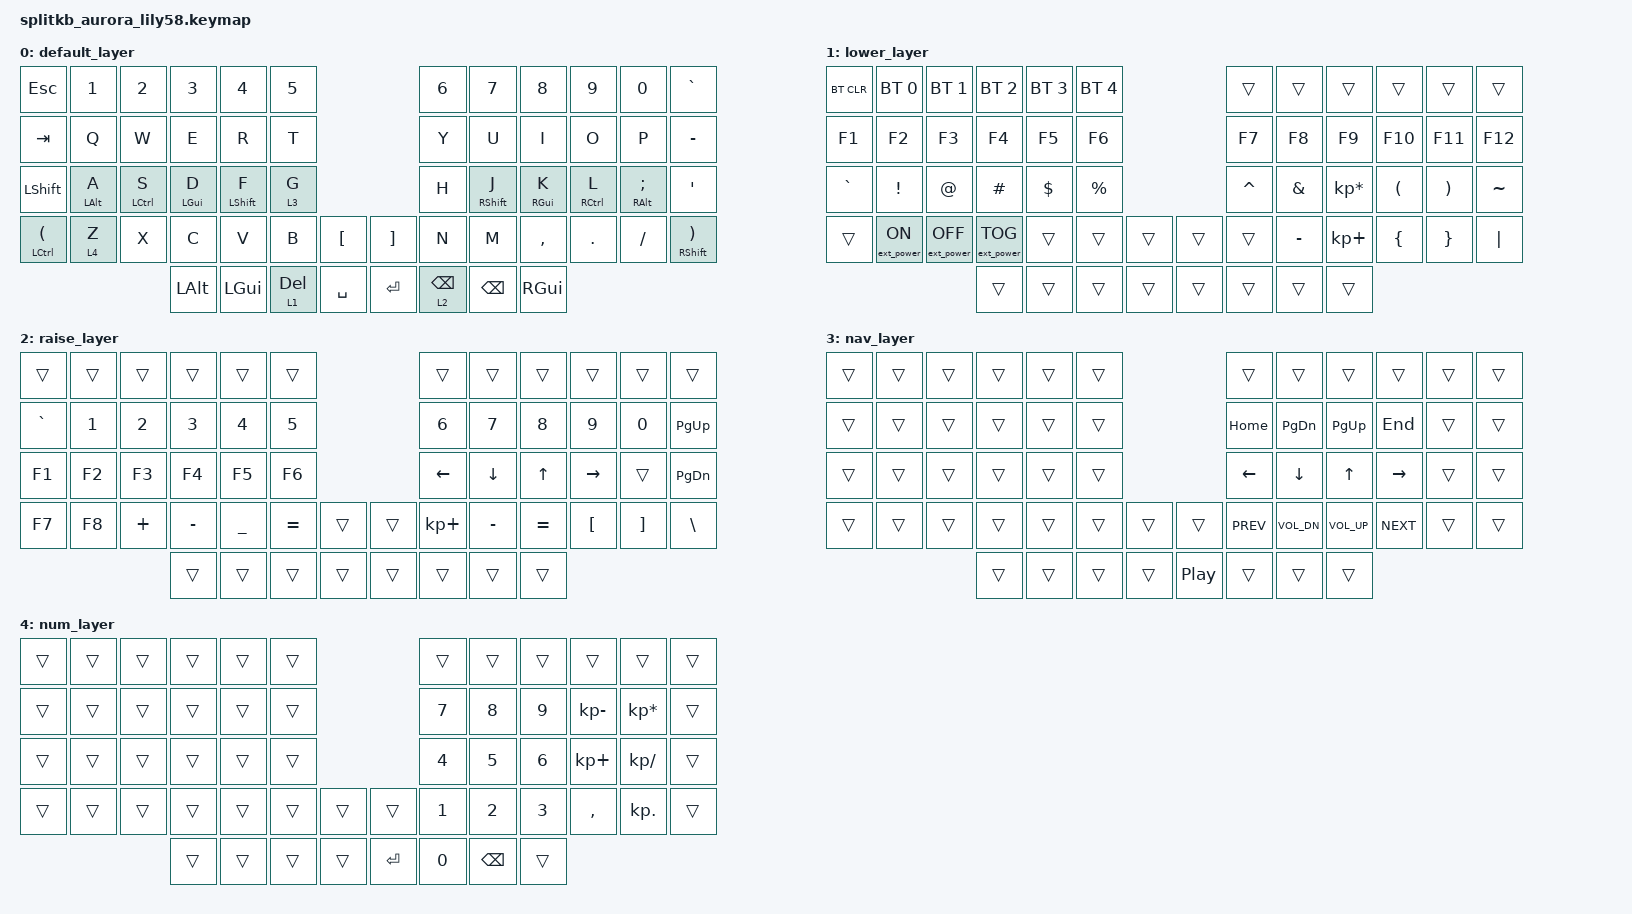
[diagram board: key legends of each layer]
/*
 * Copyright (c) 2020 The ZMK Contributors
 *
 * SPDX-License-Identifier: MIT
 */

#include <behaviors.dtsi>
#include <dt-bindings/zmk/keys.h>
#include <dt-bindings/zmk/bt.h>
#include <dt-bindings/zmk/ext_power.h>
        
#include "../zmk-nodefree-config/helper.h"
#include "../zmk-nodefree-config/keypos_def/keypos_58keys.h"


#define L_DEF 0
#define L_LOW 1
#define L_UP 2
#define L_NAV 3
#define L_NUM 4

&mt {
    tapping-term-ms = <200>;
};

/ {

    #include "combos.dti"
    #include "macros.dti"

    behaviors {
        // umlaut tab dance case
        // 1 tab = regular aeo key,
        // 2x tab = lower case aeo umlaut
        // 3x tab = UPPER case aeo umlaut
        td_ae: td_ae {
            compatible = "zmk,behavior-tap-dance";
            label = "AE";
            #binding-cells = <0>;
            tapping-term-ms = <180>;
            bindings = <&kp A>, <&m_ae>, <&m_uae>;
        };
        td_oe: td_oe {
            compatible = "zmk,behavior-tap-dance";
            label = "OE";
            #binding-cells = <0>;
            tapping-term-ms = <180>;
            bindings = <&kp O>, <&m_oe>, <&m_uoe>;
        };
        td_ue: td_ue {
            compatible = "zmk,behavior-tap-dance";
            label = "UE";
            #binding-cells = <0>;
            tapping-term-ms = <180>;
            bindings = <&kp U>, <&m_ue>, <&m_uue>;
        };
        ht: hold_tap {
            compatible = "zmk,behavior-hold-tap";
            label = "HOMEROW_MODS";
            #binding-cells = <2>;
            tapping-term-ms = <250>;
            quick-tap-ms = <0>;
            flavor = "balanced";
            bindings = <&kp>, <&kp>;
        };
        b_lt: layer_tap {
            compatible = "zmk,behavior-hold-tap";
            label = "LAYER_TAP";
            #binding-cells = <2>;
            tapping-term-ms = <250>;
            quick-tap-ms = <0>;
            flavor = "balanced";
            bindings = <&mo>, <&kp>;
         };
    };



    keymap {
        compatible = "zmk,keymap";

        default_layer {
// ------------------------------------------------------------------------------------------------------------
// |  ESC  |  1  |  2  |  3   |  4   |  5   |                   |  6   |  7    |  8    |  9   |   0   |   `   |
// ------------------------------------------------------------------------------------------------------------
// |  TAB  |  Q  |  W  |  E   |  R   |  T   |                   |  Y   |   U   |  I    |   O  |   P   |   -   |
// ------------------------------------------------------------------------------------------------------------
// | SHIFT |  A  |  S  |  D   |  F   |  G   |                   |  H   |  J    |  K    |  L   |   ;   |   '   |
// |       | ALT | CTRL| GUI  | SHFT | NAV  |                   |      | SHFT  | GUI   | CTRL | ALT   |       |
// ------------------------------------------------------------------------------------------------------------
// |  CTRL |  Z  |  X  |  C   |  V   |  B   |   "["  |  |  "]"  |  N   |  M    |  ,    |  .   |   /   | SHIFT |
// |   (   | NUM |     |      |      |      |        |  |       |      |       |       |      |       |   )   |
// ------------------------------------------------------------------------------------------------------------
//                     | ALT  | GUI  | LOWER|  SPACE |  | ENTER | RAISE| BSPC  | GUI   |
//                     |      |      |  DEL |        |  |       |  BSPC|       |       |
// ------------------------------------------------------------------------------------------------------------
            bindings = <
&kp ESC   &kp N1 &kp N2 &kp N3   &kp N4   &kp N5                     &kp N6 &kp N7   &kp N8    &kp N9  &kp N0   &kp GRAVE
&kp TAB   &kp Q  &kp W  &kp E    &kp R    &kp T                      &kp Y  &kp U   &kp I      &kp O  &kp P    &kp MINUS
&kp LSHFT &ht LALT A &ht LCTRL S &ht LGUI D &ht LSHFT F &b_lt 3 G      &kp H &ht RSHFT J &ht RGUI K &ht RCTRL L &ht RALT SEMI &kp SQT
&mt LCTRL LPAR &b_lt 4 Z &kp X  &kp C    &kp V    &kp B  &kp LBKT   &kp RBKT &kp N  &kp M    &kp COMMA &kp DOT &kp FSLH &mt RSHFT RPAR
                        &kp LALT &kp LGUI &lt 1 DEL  &kp SPACE  &kp RET  &lt 2 BSPC  &kp BSPC &kp RGUI
            >;

        };

        lower_layer {
// ------------------------------------------------------------------------------------------------------------
// | BTCLR | BT1 | BT2 |  BT3 |  BT4 |  BT5 |                   |      |       |       |      |       |       |
// ------------------------------------------------------------------------------------------------------------
// |  F1   |  F2 |  F3 |  F4  |  F5  |  F6  |                   |  F7  |  F8   |  F9   |  F10 |  F11  |  F12  |
// ------------------------------------------------------------------------------------------------------------
// |   `   |  !  |  @  |  #   |  $   |  %   |                   |  ^   |  &    |  *    |  (   |   )   |   ~   |
// ------------------------------------------------------------------------------------------------------------
// |       |     |     |      |      |      |        |  |       |      |  _    |  +    |  {   |   }   |  "|"  |
// ------------------------------------------------------------------------------------------------------------
//                     |      |      |      |        |  |       |      |       |       |
// ------------------------------------------------------------------------------------------------------------
            bindings = <
&bt BT_CLR &bt BT_SEL 0     &bt BT_SEL 1      &bt BT_SEL 2      &bt BT_SEL 3 &bt BT_SEL 4                 &trans    &trans    &trans          &trans    &trans    &trans
&kp F1     &kp F2           &kp F3            &kp F4            &kp F5       &kp F6                       &kp F7    &kp F8    &kp F9          &kp F10   &kp F11   &kp F12
&kp GRAVE  &kp EXCL         &kp AT            &kp HASH          &kp DOLLAR   &kp PRCNT                    &kp CARET &kp AMPS  &kp KP_MULTIPLY &kp LPAR  &kp RPAR  &kp TILDE
&trans     &ext_power EP_ON &ext_power EP_OFF &ext_power EP_TOG &trans       &trans    &trans   &trans    &trans    &kp MINUS &kp KP_PLUS     &kp LBRC  &kp RBRC  &kp PIPE
                                              &trans            &trans       &trans    &trans   &trans    &trans    &trans    &trans
            >;

        };

        raise_layer {
// ------------------------------------------------------------------------------------------------------------
// |       |     |     |      |      |      |                   |      |       |       |      |       |       |
// ------------------------------------------------------------------------------------------------------------
// |   `   |  1  |  2  |  3   |  4   |  5   |                   |  6   |   7   |   8   |  9   |   0   | PG_UP |
// ------------------------------------------------------------------------------------------------------------
// |   F1  |  F2 |  F3 |  F4  |  F5  |  F6  |                   |  <-  |   v   |   ^   |  ->  |       | PG_DN |
// ------------------------------------------------------------------------------------------------------------
// |   F7  |  F8 |   + |   -  |   _  |  =   |        |  |       |  +   |   -   |   =   |  [   |   ]   |   \   |
// ------------------------------------------------------------------------------------------------------------
//                     |      |      |      |        |  |       |      |       |       |
// ------------------------------------------------------------------------------------------------------------
            bindings = <
&trans    &trans &trans &trans  &trans  &trans                       &trans      &trans    &trans    &trans   &trans    &trans
&kp GRAVE &kp N1 &kp N2 &kp N3  &kp N4  &kp N5                       &kp N6      &kp N7    &kp N8    &kp N9   &kp N0    &kp PG_UP
&kp F1    &kp F2 &kp F3 &kp F4  &kp F5  &kp F6                       &kp LEFT    &kp DOWN  &kp UP    &kp RIGHT &trans   &kp PG_DN
&kp F7    &kp F8 &kp PLUS &kp MINUS &kp UNDER &kp EQUAL   &trans   &trans    &kp KP_PLUS &kp MINUS &kp EQUAL &kp LBKT &kp RBKT  &kp BSLH
                        &trans  &trans  &trans    &trans   &trans    &trans      &trans    &trans
            >;

        };

// hold "g" for num_layer !
        nav_layer {
// ------------------------------------------------------------------------------------------------------------
// |       |     |     |      |      |      |                   |      |       |       |      |       |       |
// ------------------------------------------------------------------------------------------------------------
// |       |     |     |      |      |      |                   | HOME | PG_DN | PG_UP | END  |       |       |
// ------------------------------------------------------------------------------------------------------------
// |       |     |     |      |      |      |                   |  <-  |   v   |   ^   |  ->  |       |       |
// ------------------------------------------------------------------------------------------------------------
// |       |     |     |      |      |      |        |  |       | PREV | VOL-  | VOL+  | NEXT |       |       |
// ------------------------------------------------------------------------------------------------------------
//                     |      |      |      |        |  |PLAY/P |      |       |       |
// ------------------------------------------------------------------------------------------------------------
            bindings = <
&trans    &trans &trans &trans  &trans  &trans                       &trans      &trans    &trans    &trans   &trans    &trans
&trans    &trans &trans &trans  &trans  &trans                       &kp HOME    &kp PG_DN &kp PG_UP &kp END  &trans  &trans
&trans    &trans &trans &trans  &trans  &trans                       &kp LEFT    &kp DOWN  &kp UP    &kp RIGHT &trans   &trans
&trans    &trans &trans &trans  &trans  &trans    &trans   &trans    &kp C_PREV  &kp C_VOL_DN &kp C_VOL_UP &kp C_NEXT  &trans    &trans
                        &trans  &trans  &trans    &trans   &kp C_PP  &trans      &trans    &trans
            >;

        };

// hold "z" for num_layer !
        num_layer {
// ------------------------------------------------------------------------------------------------------------
// |       |     |     |      |      |      |                   |      |       |       |      |       |       |
// ------------------------------------------------------------------------------------------------------------
// |       |     |     |      |      |      |                   |  7   |  8    |  9    |  -   |  *    |       |
// ------------------------------------------------------------------------------------------------------------
// |       |     |     |      |      |      |                   |  4   |  5    |  6    |  +   |  /    |       |
// ------------------------------------------------------------------------------------------------------------
// |       |     |     |      |      |      |        |  |       |  1   |  2    |  3    |  ,   |  .    |       |
// ------------------------------------------------------------------------------------------------------------
//                     |      |      |      |        |  |ENTER  |  0   |  BSPC |       |  
// ------------------------------------------------------------------------------------------------------------
            bindings = <
&trans    &trans &trans &trans  &trans  &trans                       &trans      &trans    &trans    &trans   &trans    &trans
&trans    &trans &trans &trans  &trans  &trans                       &kp N7  &kp N8  &kp N9 &kp KP_MINUS &kp KP_ASTERISK  &trans
&trans    &trans &trans &trans  &trans  &trans                       &kp N4  &kp N5  &kp N6 &kp KP_PLUS  &kp KP_DIVIDE   &trans
&trans    &trans &trans &trans  &trans  &trans    &trans   &trans    &kp N1  &kp N2  &kp N3 &kp COMMA   &kp KP_DOT &trans
                        &trans  &trans  &trans    &trans   &kp RET   &kp N0  &kp BSPC &trans     
            >;

        };
    };
};
